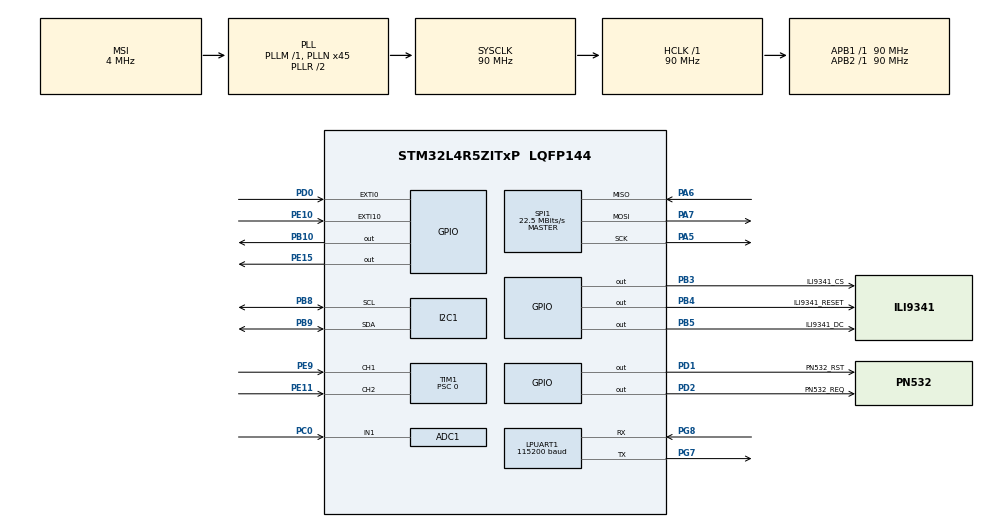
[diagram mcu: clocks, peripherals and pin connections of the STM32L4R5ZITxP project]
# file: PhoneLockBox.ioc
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ADC1.Channel-1\#ChannelRegularConversion=ADC_CHANNEL_1
ADC1.NbrOfConversionFlag=1
ADC1.OffsetNumber-1\#ChannelRegularConversion=ADC_OFFSET_NONE
ADC1.Rank-1\#ChannelRegularConversion=1
ADC1.SamplingTime-1\#ChannelRegularConversion=ADC_SAMPLETIME_2CYCLES_5
ADC1.master=1
I2C1.Timing=0xA021202D
LPUART1.BaudRate=115200
LPUART1.WordLength=UART_WORDLENGTH_8B
Mcu.Family=STM32L4
Mcu.Name=STM32L4R5ZITxP
Mcu.Package=LQFP144
NVIC.EXTI0_IRQn=true\:0\:0\:false\:false\:true\:true\:true\:true
NVIC.EXTI15_10_IRQn=true\:0\:0\:false\:false\:true\:true\:true\:true
NVIC.PriorityGroup=NVIC_PRIORITYGROUP_4
NVIC.TIM2_IRQn=true\:0\:0\:false\:false\:true\:true\:true\:true
NVIC.TIM3_IRQn=true\:0\:0\:false\:false\:true\:true\:true\:true
PA0.Signal=S_TIM2_CH1
PA1.Signal=ADCx_IN6
PA10.Signal=USB_OTG_FS_ID
PA13\ (JTMS/SWDIO).Signal=SYS_JTMS-SWDIO
PA14\ (JTCK/SWCLK).Signal=SYS_JTCK-SWCLK
PA3.Signal=ADCx_IN8
PA5.Mode=Full_Duplex_Master
PA5.Signal=SPI1_SCK
PA6.Mode=Full_Duplex_Master
PA6.Signal=SPI1_MISO
PA7.Mode=Full_Duplex_Master
PA7.Signal=SPI1_MOSI
PA8.Signal=USB_OTG_FS_SOF
PA9.Signal=USB_OTG_FS_VBUS
PB10.Signal=GPIO_Output
PB12.Signal=SAI2_FS_A
PB13.Signal=SAI2_SCK_A
PB14.Signal=S_TIM15_CH1
PB15.Signal=SAI2_SD_A
PB2.Signal=COMP1_INP
PB3\ (JTDO/TRACESWO).GPIO_Label=ILI9341_CS
PB3\ (JTDO/TRACESWO).Signal=GPIO_Output
PB4\ (NJTRST).GPIO_Label=ILI9341_RESET
PB4\ (NJTRST).Signal=GPIO_Output
PB5.GPIO_Label=ILI9341_DC
PB5.Signal=GPIO_Output
PB6.Signal=COMP2_INP
PB8.Mode=I2C
PB8.Signal=I2C1_SCL
PB9.Mode=I2C
PB9.Signal=I2C1_SDA
PC0.Signal=ADCx_IN1
PC1.Signal=ADCx_IN2
PC10.Signal=SDMMC1_D2
PC11.Signal=SDMMC1_D3
PC12.Signal=SDMMC1_CK
PC14-OSC32_IN\ (PC14).Signal=RCC_OSC32_IN
PC15-OSC32_OUT\ (PC15).Signal=RCC_OSC32_OUT
PC2.Signal=ADCx_IN3
PC3.Signal=ADCx_IN4
PC4.Signal=ADCx_IN13
PC5.Signal=ADCx_IN14
PC6.Signal=SAI2_MCLK_A
PC7.Signal=S_TIM3_CH2
PC8.Signal=SDMMC1_D0
PC9.Signal=SDMMC1_D1
PD0.Signal=GPXTI0
PD1.GPIO_Label=PN532_RST
PD1.Signal=GPIO_Output
PD14.Signal=S_TIM4_CH3
PD15.Signal=S_TIM4_CH4
PD2.GPIO_Label=PN532_REQ
PD2.Signal=GPIO_Output
PD3.Signal=USART2_CTS
PD4.Signal=USART2_RTS
PD5.Signal=USART2_TX
PD6.Signal=USART2_RX
PD8.Signal=USART3_TX
PD9.Signal=USART3_RX
PE0.Signal=S_TIM4_ETR
PE10.Signal=GPXTI10
PE11.Signal=S_TIM1_CH2
PE12.Signal=TIM1_CH3N
PE13.Signal=S_TIM1_CH3
PE14.Signal=TIM1_BKIN2
PE15.Signal=GPIO_Output
PE2.Signal=SAI1_MCLK_A
PE3.Signal=SAI1_SD_B
PE7.Signal=S_TIM1_ETR
PE8.Signal=TIM1_CH1N
PE9.Signal=S_TIM1_CH1
PF0.Signal=I2C2_SDA
PF1.Signal=I2C2_SCL
PF2.Signal=I2C2_SMBA
PF7.Signal=SAI1_MCLK_B
PG7.Mode=Asynchronous
PG7.Signal=LPUART1_TX
PG8.Mode=Asynchronous
PG8.Signal=LPUART1_RX
PH0-OSC_IN\ (PH0).Mode=HSE-External-Oscillator
PH0-OSC_IN\ (PH0).Signal=RCC_OSC_IN
PH1-OSC_OUT\ (PH1).Mode=HSE-External-Oscillator
PH1-OSC_OUT\ (PH1).Signal=RCC_OSC_OUT
ProjectManager.HeapSize=0x200
ProjectManager.StackSize=0x400
ProjectManager.TargetToolchain=STM32CubeIDE
RCC.ADCFreq_Value=32000000
RCC.AHBFreq_Value=90000000
RCC.APB1Freq_Value=90000000
RCC.APB1TimFreq_Value=90000000
RCC.APB2Freq_Value=90000000
RCC.APB2TimFreq_Value=90000000
RCC.CortexFreq_Value=90000000
RCC.HCLKFreq_Value=90000000
RCC.HSE_VALUE=8000000
RCC.HSI48_VALUE=48000000
RCC.HSI_VALUE=16000000
RCC.LSE_VALUE=32768
RCC.MSI_VALUE=4000000
RCC.PLLN=45
RCC.PLLSAI1N=16
RCC.SYSCLKFreq_VALUE=90000000
RCC.SYSCLKSource=RCC_SYSCLKSOURCE_PLLCLK
RCC.USBFreq_Value=32000000
RCC.VCOOutputFreq_Value=180000000
SH.ADCx_IN1.0=ADC1_IN1,IN1-Single-Ended
SH.ADCx_IN13.0=ADC1_IN13
SH.ADCx_IN14.0=ADC1_IN14
SH.ADCx_IN2.0=ADC1_IN2
SH.ADCx_IN3.0=ADC1_IN3
SH.ADCx_IN4.0=ADC1_IN4
SH.ADCx_IN6.0=ADC1_IN6
SH.ADCx_IN8.0=ADC1_IN8
SH.S_TIM15_CH1.0=TIM15_CH1
SH.S_TIM1_CH1.0=TIM1_CH1,Encoder_Interface
SH.S_TIM1_CH2.0=TIM1_CH2,Encoder_Interface
SH.S_TIM1_CH3.0=TIM1_CH3
SH.S_TIM1_ETR.0=TIM1_ETR
SH.S_TIM2_CH1.0=TIM2_CH1
SH.S_TIM3_CH2.0=TIM3_CH2
SH.S_TIM4_CH3.0=TIM4_CH3
SH.S_TIM4_CH4.0=TIM4_CH4
SH.S_TIM4_ETR.0=TIM4_ETR
SPI1.BaudRatePrescaler=SPI_BAUDRATEPRESCALER_4
SPI1.CalculateBaudRate=22.5 MBits/s
SPI1.DataSize=SPI_DATASIZE_8BIT
SPI1.Direction=SPI_DIRECTION_2LINES
SPI1.Mode=SPI_MODE_MASTER
SPI1.VirtualType=VM_MASTER
TIM1.EncoderMode=TIM_ENCODERMODE_TI12
TIM1.Period=60000
TIM1.Prescaler=0
TIM2.CounterMode=TIM_COUNTERMODE_DOWN
TIM2.Period=30000
TIM2.Prescaler=8999
TIM3.AutoReloadPreload=TIM_AUTORELOAD_PRELOAD_ENABLE
TIM3.Period=100
TIM3.Prescaler=899
VP_TIM2_VS_ClockSourceINT.Mode=Internal
VP_TIM3_VS_ClockSourceINT.Mode=Internal
board=NUCLEO-L4R5ZI-P

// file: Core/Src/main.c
/* USER CODE BEGIN Header */
/**
 ******************************************************************************
 * @file           : main.c
 * @brief          : Main program body
 ******************************************************************************
 * @attention
 *
 * Copyright (c) 2025 STMicroelectronics.
 * All rights reserved.
 *
 * This software is licensed under terms that can be found in the LICENSE file
 * in the root directory of this software component.
 * If no LICENSE file comes with this software, it is provided AS-IS.
 *
 ******************************************************************************
 */
/* USER CODE END Header */
#include "main.h"

/* USER CODE BEGIN Includes */
#include <stdio.h>
#include <string.h>
#include <stdio.h>

#include "audio.h"
#include "Screen_Driver.h"
#include "state_machine.h"
#include "nfc.h"
#include "accelerometer.h"
#include "rotary_encoder.h"
#include "shared.h"
#include "lock_timer.h"
#include "font.h"
#include "event_controller.h"
/* USER CODE END Includes */

ADC_HandleTypeDef hadc1;

I2C_HandleTypeDef hi2c1;

UART_HandleTypeDef hlpuart1;

SPI_HandleTypeDef hspi1;

TIM_HandleTypeDef htim1;
TIM_HandleTypeDef htim2;
TIM_HandleTypeDef htim3;

/* USER CODE BEGIN PV */
PN532 pn532;

extern BoxState state;
extern uint32_t time_ms;
extern uint8_t audio_count;
extern SFlag flags[MAX_FLAGS];
extern bool master_timer_done;
/* USER CODE END PV */

void SystemClock_Config(void);
static void MX_GPIO_Init(void);
static void MX_LPUART1_UART_Init(void);
static void MX_ADC1_Init(void);
static void MX_TIM1_Init(void);
static void MX_I2C1_Init(void);
static void MX_SPI1_Init(void);
static void MX_TIM3_Init(void);
static void MX_TIM2_Init(void);

/* USER CODE BEGIN 0 */
void HAL_GPIO_EXTI_Callback(uint16_t GPIO_Pin){
	if (GPIO_Pin == GPIO_PIN_0) {  // Replace with your actual D0-connected pin
		if (state == LOCKED_MONITOR_AWAKE || state == LOCKED_MONITOR_ASLEEP) {
			++audio_count;
		}else if(state == LOCKED_FULL_AWAKE || state == LOCKED_FULL_ASLEEP) {
			stateInsertFlag(SFLAG_AUDIO_VOL_HIGH);
		}
#ifdef DEBUG_AUDIO
		printf("[INFO] EXTI 0 Interrupt Triggered from KY-037 D0!\n\r");
#endif /* DEBUG_AUDIO */
	} else if (GPIO_Pin == GPIO_PIN_10) {
		stateInsertFlag(SFLAG_ROTENC_INTERRUPT);
#ifdef DEBUG_ROTARY_ENCODER
		printf("[INFO] EXTI 10 Interrupt Triggered from Rotenc SW\n\r");
#endif

	}
}

// Callback: timer has rolled over
void HAL_TIM_PeriodElapsedCallback(TIM_HandleTypeDef *htim) {
	if (htim == &htim3 ) {
		++time_ms;
	} else if (htim == &htim2) {
		master_timer_done = true;
	}
}
/* USER CODE END 0 */

int main(void)
{

  /* MCU Configuration--------------------------------------------------------*/

  /* Reset of all peripherals, Initializes the Flash interface and the Systick. */
  HAL_Init();

  /* Configure the system clock */
  SystemClock_Config();

  /* Initialize all configured peripherals */
  MX_GPIO_Init();
  MX_LPUART1_UART_Init();
  MX_ADC1_Init();
  MX_TIM1_Init();
  MX_I2C1_Init();
  MX_SPI1_Init();
  MX_TIM3_Init();
  MX_TIM2_Init();
  /* USER CODE BEGIN 2 */

  	  /*
  	   * All of the initationals for our system and first pass
  	   * calls to establish state
  	   * */
	ILI9341_Init();
	ILI9341_Fill_Screen(WHITE);
	PN532_I2C_Init(&pn532);
	accInit();
	audioInit();
	magInit();
	rotencInit();
	nfcInit();

	lockTimerInit();
	stateMachineInit();
	eventControllerInit();

	screenResolve();
	stateScheduleEvents();
	inturruptControl();

  /* USER CODE END 2 */

  /* Infinite loop */
  /* USER CODE BEGIN WHILE */

	while (1)
	{
		runStateMachine();
		eventRunner();

		/*
		 * The code below handles rotary encoder pass through into
		 * the master timer
		 */
		if(state == UNLOCKED_EMPTY_AWAKE) {
			int32_t delta = rotencGetDelta();

			if (delta) { //Check mag^2 of delta
				lockTimerSetTime(lockTimerGetTime() + (delta * 30000));
				UEA_Timer_Update();

			}
		}

		/*
		 * This drives screen updates as the timer decrements
		 */
		if(state == LOCKED_FULL_AWAKE || state == LOCKED_MONITOR_AWAKE){
			if (lockTimerGetTime() % 1500 == 0) {
				Ring_Update();
			}
			if (lockTimerGetTime() % 150 == 0){
				UEA_Timer_Update();
			}

		}

    /* USER CODE END WHILE */

	}
}

void SystemClock_Config(void)
{
  RCC_OscInitTypeDef RCC_OscInitStruct = {0};
  RCC_ClkInitTypeDef RCC_ClkInitStruct = {0};

  /** Configure the main internal regulator output voltage
  */
  if (HAL_PWREx_ControlVoltageScaling(PWR_REGULATOR_VOLTAGE_SCALE1_BOOST) != HAL_OK)
  {
    Error_Handler();
  }

  /** Initializes the RCC Oscillators according to the specified parameters
  * in the RCC_OscInitTypeDef structure.
  */
  RCC_OscInitStruct.OscillatorType = RCC_OSCILLATORTYPE_MSI;
  RCC_OscInitStruct.MSIState = RCC_MSI_ON;
  RCC_OscInitStruct.MSICalibrationValue = 0;
  RCC_OscInitStruct.MSIClockRange = RCC_MSIRANGE_6;
  RCC_OscInitStruct.PLL.PLLState = RCC_PLL_ON;
  RCC_OscInitStruct.PLL.PLLSource = RCC_PLLSOURCE_MSI;
  RCC_OscInitStruct.PLL.PLLM = 1;
  RCC_OscInitStruct.PLL.PLLN = 45;
  RCC_OscInitStruct.PLL.PLLP = RCC_PLLP_DIV2;
  RCC_OscInitStruct.PLL.PLLQ = RCC_PLLQ_DIV2;
  RCC_OscInitStruct.PLL.PLLR = RCC_PLLR_DIV2;
  if (HAL_RCC_OscConfig(&RCC_OscInitStruct) != HAL_OK)
  {
    Error_Handler();
  }

  /** Initializes the CPU, AHB and APB buses clocks
  */
  RCC_ClkInitStruct.ClockType = RCC_CLOCKTYPE_HCLK|RCC_CLOCKTYPE_SYSCLK
                              |RCC_CLOCKTYPE_PCLK1|RCC_CLOCKTYPE_PCLK2;
  RCC_ClkInitStruct.SYSCLKSource = RCC_SYSCLKSOURCE_PLLCLK;
  RCC_ClkInitStruct.AHBCLKDivider = RCC_SYSCLK_DIV1;
  RCC_ClkInitStruct.APB1CLKDivider = RCC_HCLK_DIV1;
  RCC_ClkInitStruct.APB2CLKDivider = RCC_HCLK_DIV1;

  if (HAL_RCC_ClockConfig(&RCC_ClkInitStruct, FLASH_LATENCY_4) != HAL_OK)
  {
    Error_Handler();
  }
}

static void MX_ADC1_Init(void)
{

  ADC_ChannelConfTypeDef sConfig = {0};

  /** Common config
  */
  hadc1.Instance = ADC1;
  hadc1.Init.ClockPrescaler = ADC_CLOCK_ASYNC_DIV1;
  hadc1.Init.Resolution = ADC_RESOLUTION_12B;
  hadc1.Init.DataAlign = ADC_DATAALIGN_RIGHT;
  hadc1.Init.ScanConvMode = ADC_SCAN_DISABLE;
  hadc1.Init.EOCSelection = ADC_EOC_SINGLE_CONV;
  hadc1.Init.LowPowerAutoWait = DISABLE;
  hadc1.Init.ContinuousConvMode = DISABLE;
  hadc1.Init.NbrOfConversion = 1;
  hadc1.Init.DiscontinuousConvMode = DISABLE;
  hadc1.Init.ExternalTrigConv = ADC_SOFTWARE_START;
  hadc1.Init.ExternalTrigConvEdge = ADC_EXTERNALTRIGCONVEDGE_NONE;
  hadc1.Init.DMAContinuousRequests = DISABLE;
  hadc1.Init.Overrun = ADC_OVR_DATA_PRESERVED;
  hadc1.Init.OversamplingMode = DISABLE;
  if (HAL_ADC_Init(&hadc1) != HAL_OK)
  {
    Error_Handler();
  }

  /** Configure Regular Channel
  */
  sConfig.Channel = ADC_CHANNEL_1;
  sConfig.Rank = ADC_REGULAR_RANK_1;
  sConfig.SamplingTime = ADC_SAMPLETIME_2CYCLES_5;
  sConfig.SingleDiff = ADC_SINGLE_ENDED;
  sConfig.OffsetNumber = ADC_OFFSET_NONE;
  sConfig.Offset = 0;
  if (HAL_ADC_ConfigChannel(&hadc1, &sConfig) != HAL_OK)
  {
    Error_Handler();
  }

}

static void MX_I2C1_Init(void)
{

  hi2c1.Instance = I2C1;
  hi2c1.Init.Timing = 0xA021202D;
  hi2c1.Init.OwnAddress1 = 0;
  hi2c1.Init.AddressingMode = I2C_ADDRESSINGMODE_7BIT;
  hi2c1.Init.DualAddressMode = I2C_DUALADDRESS_DISABLE;
  hi2c1.Init.OwnAddress2 = 0;
  hi2c1.Init.OwnAddress2Masks = I2C_OA2_NOMASK;
  hi2c1.Init.GeneralCallMode = I2C_GENERALCALL_DISABLE;
  hi2c1.Init.NoStretchMode = I2C_NOSTRETCH_DISABLE;
  if (HAL_I2C_Init(&hi2c1) != HAL_OK)
  {
    Error_Handler();
  }

  /** Configure Analogue filter
  */
  if (HAL_I2CEx_ConfigAnalogFilter(&hi2c1, I2C_ANALOGFILTER_ENABLE) != HAL_OK)
  {
    Error_Handler();
  }

  /** Configure Digital filter
  */
  if (HAL_I2CEx_ConfigDigitalFilter(&hi2c1, 0) != HAL_OK)
  {
    Error_Handler();
  }

}

static void MX_LPUART1_UART_Init(void)
{

  hlpuart1.Instance = LPUART1;
  hlpuart1.Init.BaudRate = 115200;
  hlpuart1.Init.WordLength = UART_WORDLENGTH_8B;
  hlpuart1.Init.StopBits = UART_STOPBITS_1;
  hlpuart1.Init.Parity = UART_PARITY_NONE;
  hlpuart1.Init.Mode = UART_MODE_TX_RX;
  hlpuart1.Init.HwFlowCtl = UART_HWCONTROL_NONE;
  hlpuart1.Init.OneBitSampling = UART_ONE_BIT_SAMPLE_DISABLE;
  hlpuart1.Init.ClockPrescaler = UART_PRESCALER_DIV1;
  hlpuart1.AdvancedInit.AdvFeatureInit = UART_ADVFEATURE_NO_INIT;
  hlpuart1.FifoMode = UART_FIFOMODE_DISABLE;
  if (HAL_UART_Init(&hlpuart1) != HAL_OK)
  {
    Error_Handler();
  }
  if (HAL_UARTEx_SetTxFifoThreshold(&hlpuart1, UART_TXFIFO_THRESHOLD_1_8) != HAL_OK)
  {
    Error_Handler();
  }
  if (HAL_UARTEx_SetRxFifoThreshold(&hlpuart1, UART_RXFIFO_THRESHOLD_1_8) != HAL_OK)
  {
    Error_Handler();
  }
  if (HAL_UARTEx_DisableFifoMode(&hlpuart1) != HAL_OK)
  {
    Error_Handler();
  }

}

static void MX_SPI1_Init(void)
{

  /* SPI1 parameter configuration*/
  hspi1.Instance = SPI1;
  hspi1.Init.Mode = SPI_MODE_MASTER;
  hspi1.Init.Direction = SPI_DIRECTION_2LINES;
  hspi1.Init.DataSize = SPI_DATASIZE_8BIT;
  hspi1.Init.CLKPolarity = SPI_POLARITY_LOW;
  hspi1.Init.CLKPhase = SPI_PHASE_1EDGE;
  hspi1.Init.NSS = SPI_NSS_SOFT;
  hspi1.Init.BaudRatePrescaler = SPI_BAUDRATEPRESCALER_4;
  hspi1.Init.FirstBit = SPI_FIRSTBIT_MSB;
  hspi1.Init.TIMode = SPI_TIMODE_DISABLE;
  hspi1.Init.CRCCalculation = SPI_CRCCALCULATION_DISABLE;
  hspi1.Init.CRCPolynomial = 7;
  hspi1.Init.CRCLength = SPI_CRC_LENGTH_DATASIZE;
  hspi1.Init.NSSPMode = SPI_NSS_PULSE_ENABLE;
  if (HAL_SPI_Init(&hspi1) != HAL_OK)
  {
    Error_Handler();
  }

}

static void MX_TIM1_Init(void)
{

  TIM_Encoder_InitTypeDef sConfig = {0};
  TIM_MasterConfigTypeDef sMasterConfig = {0};

  htim1.Instance = TIM1;
  htim1.Init.Prescaler = 0;
  htim1.Init.CounterMode = TIM_COUNTERMODE_UP;
  htim1.Init.Period = 60000;
  htim1.Init.ClockDivision = TIM_CLOCKDIVISION_DIV1;
  htim1.Init.RepetitionCounter = 0;
  htim1.Init.AutoReloadPreload = TIM_AUTORELOAD_PRELOAD_DISABLE;
  sConfig.EncoderMode = TIM_ENCODERMODE_TI12;
  sConfig.IC1Polarity = TIM_ICPOLARITY_RISING;
  sConfig.IC1Selection = TIM_ICSELECTION_DIRECTTI;
  sConfig.IC1Prescaler = TIM_ICPSC_DIV1;
  sConfig.IC1Filter = 0;
  sConfig.IC2Polarity = TIM_ICPOLARITY_RISING;
  sConfig.IC2Selection = TIM_ICSELECTION_DIRECTTI;
  sConfig.IC2Prescaler = TIM_ICPSC_DIV1;
  sConfig.IC2Filter = 0;
  if (HAL_TIM_Encoder_Init(&htim1, &sConfig) != HAL_OK)
  {
    Error_Handler();
  }
  sMasterConfig.MasterOutputTrigger = TIM_TRGO_RESET;
  sMasterConfig.MasterOutputTrigger2 = TIM_TRGO2_RESET;
  sMasterConfig.MasterSlaveMode = TIM_MASTERSLAVEMODE_DISABLE;
  if (HAL_TIMEx_MasterConfigSynchronization(&htim1, &sMasterConfig) != HAL_OK)
  {
    Error_Handler();
  }

}

static void MX_TIM2_Init(void)
{

  TIM_ClockConfigTypeDef sClockSourceConfig = {0};
  TIM_MasterConfigTypeDef sMasterConfig = {0};

  htim2.Instance = TIM2;
  htim2.Init.Prescaler = 8999;
  htim2.Init.CounterMode = TIM_COUNTERMODE_DOWN;
  htim2.Init.Period = 30000;
  htim2.Init.ClockDivision = TIM_CLOCKDIVISION_DIV1;
  htim2.Init.AutoReloadPreload = TIM_AUTORELOAD_PRELOAD_DISABLE;
  if (HAL_TIM_Base_Init(&htim2) != HAL_OK)
  {
    Error_Handler();
  }
  sClockSourceConfig.ClockSource = TIM_CLOCKSOURCE_INTERNAL;
  if (HAL_TIM_ConfigClockSource(&htim2, &sClockSourceConfig) != HAL_OK)
  {
    Error_Handler();
  }
  sMasterConfig.MasterOutputTrigger = TIM_TRGO_RESET;
  sMasterConfig.MasterSlaveMode = TIM_MASTERSLAVEMODE_DISABLE;
  if (HAL_TIMEx_MasterConfigSynchronization(&htim2, &sMasterConfig) != HAL_OK)
  {
    Error_Handler();
  }

}

static void MX_TIM3_Init(void)
{

  TIM_ClockConfigTypeDef sClockSourceConfig = {0};
  TIM_MasterConfigTypeDef sMasterConfig = {0};

  htim3.Instance = TIM3;
  htim3.Init.Prescaler = 899;
  htim3.Init.CounterMode = TIM_COUNTERMODE_UP;
  htim3.Init.Period = 100;
  htim3.Init.ClockDivision = TIM_CLOCKDIVISION_DIV1;
  htim3.Init.AutoReloadPreload = TIM_AUTORELOAD_PRELOAD_ENABLE;
  if (HAL_TIM_Base_Init(&htim3) != HAL_OK)
  {
    Error_Handler();
  }
  sClockSourceConfig.ClockSource = TIM_CLOCKSOURCE_INTERNAL;
  if (HAL_TIM_ConfigClockSource(&htim3, &sClockSourceConfig) != HAL_OK)
  {
    Error_Handler();
  }
  sMasterConfig.MasterOutputTrigger = TIM_TRGO_RESET;
  sMasterConfig.MasterSlaveMode = TIM_MASTERSLAVEMODE_DISABLE;
  if (HAL_TIMEx_MasterConfigSynchronization(&htim3, &sMasterConfig) != HAL_OK)
  {
    Error_Handler();
  }

}

static void MX_GPIO_Init(void)
{
  GPIO_InitTypeDef GPIO_InitStruct = {0};

  /* GPIO Ports Clock Enable */
  __HAL_RCC_GPIOE_CLK_ENABLE();
  __HAL_RCC_GPIOC_CLK_ENABLE();
  __HAL_RCC_GPIOF_CLK_ENABLE();
  __HAL_RCC_GPIOH_CLK_ENABLE();
  __HAL_RCC_GPIOA_CLK_ENABLE();
  __HAL_RCC_GPIOB_CLK_ENABLE();
  __HAL_RCC_GPIOD_CLK_ENABLE();
  __HAL_RCC_GPIOG_CLK_ENABLE();
  HAL_PWREx_EnableVddIO2();

  /*Configure GPIO pin Output Level */
  HAL_GPIO_WritePin(GPIOE, GPIO_PIN_15, GPIO_PIN_RESET);

  /*Configure GPIO pin Output Level */
  HAL_GPIO_WritePin(GPIOB, GPIO_PIN_10|ILI9341_CS_Pin|ILI9341_RESET_Pin|ILI9341_DC_Pin, GPIO_PIN_RESET);

  /*Configure GPIO pin Output Level */
  HAL_GPIO_WritePin(GPIOD, PN532_RST_Pin|PN532_REQ_Pin, GPIO_PIN_RESET);

  /*Configure GPIO pins : PE2 PE3 */
  GPIO_InitStruct.Pin = GPIO_PIN_2|GPIO_PIN_3;
  GPIO_InitStruct.Mode = GPIO_MODE_AF_PP;
  GPIO_InitStruct.Pull = GPIO_NOPULL;
  GPIO_InitStruct.Speed = GPIO_SPEED_FREQ_LOW;
  GPIO_InitStruct.Alternate = GPIO_AF13_SAI1;
  HAL_GPIO_Init(GPIOE, &GPIO_InitStruct);

  /*Configure GPIO pins : PF0 PF1 PF2 */
  GPIO_InitStruct.Pin = GPIO_PIN_0|GPIO_PIN_1|GPIO_PIN_2;
  GPIO_InitStruct.Mode = GPIO_MODE_AF_OD;
  GPIO_InitStruct.Pull = GPIO_NOPULL;
  GPIO_InitStruct.Speed = GPIO_SPEED_FREQ_VERY_HIGH;
  GPIO_InitStruct.Alternate = GPIO_AF4_I2C2;
  HAL_GPIO_Init(GPIOF, &GPIO_InitStruct);

  /*Configure GPIO pin : PF7 */
  GPIO_InitStruct.Pin = GPIO_PIN_7;
  GPIO_InitStruct.Mode = GPIO_MODE_AF_PP;
  GPIO_InitStruct.Pull = GPIO_NOPULL;
  GPIO_InitStruct.Speed = GPIO_SPEED_FREQ_LOW;
  GPIO_InitStruct.Alternate = GPIO_AF13_SAI1;
  HAL_GPIO_Init(GPIOF, &GPIO_InitStruct);

  /*Configure GPIO pins : PB2 PB6 */
  GPIO_InitStruct.Pin = GPIO_PIN_2|GPIO_PIN_6;
  GPIO_InitStruct.Mode = GPIO_MODE_ANALOG;
  GPIO_InitStruct.Pull = GPIO_NOPULL;
  HAL_GPIO_Init(GPIOB, &GPIO_InitStruct);

  /*Configure GPIO pin : PE10 */
  GPIO_InitStruct.Pin = GPIO_PIN_10;
  GPIO_InitStruct.Mode = GPIO_MODE_IT_RISING;
  GPIO_InitStruct.Pull = GPIO_NOPULL;
  HAL_GPIO_Init(GPIOE, &GPIO_InitStruct);

  /*Configure GPIO pin : PE15 */
  GPIO_InitStruct.Pin = GPIO_PIN_15;
  GPIO_InitStruct.Mode = GPIO_MODE_OUTPUT_PP;
  GPIO_InitStruct.Pull = GPIO_NOPULL;
  GPIO_InitStruct.Speed = GPIO_SPEED_FREQ_LOW;
  HAL_GPIO_Init(GPIOE, &GPIO_InitStruct);

  /*Configure GPIO pins : PB10 ILI9341_CS_Pin ILI9341_RESET_Pin ILI9341_DC_Pin */
  GPIO_InitStruct.Pin = GPIO_PIN_10|ILI9341_CS_Pin|ILI9341_RESET_Pin|ILI9341_DC_Pin;
  GPIO_InitStruct.Mode = GPIO_MODE_OUTPUT_PP;
  GPIO_InitStruct.Pull = GPIO_NOPULL;
  GPIO_InitStruct.Speed = GPIO_SPEED_FREQ_LOW;
  HAL_GPIO_Init(GPIOB, &GPIO_InitStruct);

  /*Configure GPIO pins : PB12 PB13 PB15 */
  GPIO_InitStruct.Pin = GPIO_PIN_12|GPIO_PIN_13|GPIO_PIN_15;
  GPIO_InitStruct.Mode = GPIO_MODE_AF_PP;
  GPIO_InitStruct.Pull = GPIO_NOPULL;
  GPIO_InitStruct.Speed = GPIO_SPEED_FREQ_LOW;
  GPIO_InitStruct.Alternate = GPIO_AF13_SAI2;
  HAL_GPIO_Init(GPIOB, &GPIO_InitStruct);

  /*Configure GPIO pin : PB14 */
  GPIO_InitStruct.Pin = GPIO_PIN_14;
  GPIO_InitStruct.Mode = GPIO_MODE_AF_PP;
  GPIO_InitStruct.Pull = GPIO_NOPULL;
  GPIO_InitStruct.Speed = GPIO_SPEED_FREQ_LOW;
  GPIO_InitStruct.Alternate = GPIO_AF14_TIM15;
  HAL_GPIO_Init(GPIOB, &GPIO_InitStruct);

  /*Configure GPIO pins : PD8 PD9 */
  GPIO_InitStruct.Pin = GPIO_PIN_8|GPIO_PIN_9;
  GPIO_InitStruct.Mode = GPIO_MODE_AF_PP;
  GPIO_InitStruct.Pull = GPIO_NOPULL;
  GPIO_InitStruct.Speed = GPIO_SPEED_FREQ_VERY_HIGH;
  GPIO_InitStruct.Alternate = GPIO_AF7_USART3;
  HAL_GPIO_Init(GPIOD, &GPIO_InitStruct);

  /*Configure GPIO pins : PD14 PD15 */
  GPIO_InitStruct.Pin = GPIO_PIN_14|GPIO_PIN_15;
  GPIO_InitStruct.Mode = GPIO_MODE_AF_PP;
  GPIO_InitStruct.Pull = GPIO_NOPULL;
  GPIO_InitStruct.Speed = GPIO_SPEED_FREQ_LOW;
  GPIO_InitStruct.Alternate = GPIO_AF2_TIM4;
  HAL_GPIO_Init(GPIOD, &GPIO_InitStruct);

  /*Configure GPIO pin : PC6 */
  GPIO_InitStruct.Pin = GPIO_PIN_6;
  GPIO_InitStruct.Mode = GPIO_MODE_AF_PP;
  GPIO_InitStruct.Pull = GPIO_NOPULL;
  GPIO_InitStruct.Speed = GPIO_SPEED_FREQ_LOW;
  GPIO_InitStruct.Alternate = GPIO_AF13_SAI2;
  HAL_GPIO_Init(GPIOC, &GPIO_InitStruct);

  /*Configure GPIO pins : PC8 PC9 PC10 PC11
                           PC12 */
  GPIO_InitStruct.Pin = GPIO_PIN_8|GPIO_PIN_9|GPIO_PIN_10|GPIO_PIN_11
                          |GPIO_PIN_12;
  GPIO_InitStruct.Mode = GPIO_MODE_AF_PP;
  GPIO_InitStruct.Pull = GPIO_NOPULL;
  GPIO_InitStruct.Speed = GPIO_SPEED_FREQ_VERY_HIGH;
  GPIO_InitStruct.Alternate = GPIO_AF12_SDMMC1;
  HAL_GPIO_Init(GPIOC, &GPIO_InitStruct);

  /*Configure GPIO pins : PA8 PA10 */
  GPIO_InitStruct.Pin = GPIO_PIN_8|GPIO_PIN_10;
  GPIO_InitStruct.Mode = GPIO_MODE_AF_PP;
  GPIO_InitStruct.Pull = GPIO_NOPULL;
  GPIO_InitStruct.Speed = GPIO_SPEED_FREQ_VERY_HIGH;
  GPIO_InitStruct.Alternate = GPIO_AF10_OTG_FS;
  HAL_GPIO_Init(GPIOA, &GPIO_InitStruct);

  /*Configure GPIO pin : PA9 */
  GPIO_InitStruct.Pin = GPIO_PIN_9;
  GPIO_InitStruct.Mode = GPIO_MODE_INPUT;
  GPIO_InitStruct.Pull = GPIO_NOPULL;
  HAL_GPIO_Init(GPIOA, &GPIO_InitStruct);

  /*Configure GPIO pin : PD0 */
  GPIO_InitStruct.Pin = GPIO_PIN_0;
  GPIO_InitStruct.Mode = GPIO_MODE_IT_RISING;
  GPIO_InitStruct.Pull = GPIO_NOPULL;
  HAL_GPIO_Init(GPIOD, &GPIO_InitStruct);

  /*Configure GPIO pins : PN532_RST_Pin PN532_REQ_Pin */
  GPIO_InitStruct.Pin = PN532_RST_Pin|PN532_REQ_Pin;
  GPIO_InitStruct.Mode = GPIO_MODE_OUTPUT_PP;
  GPIO_InitStruct.Pull = GPIO_NOPULL;
  GPIO_InitStruct.Speed = GPIO_SPEED_FREQ_LOW;
  HAL_GPIO_Init(GPIOD, &GPIO_InitStruct);

  /*Configure GPIO pins : PD3 PD4 PD5 PD6 */
  GPIO_InitStruct.Pin = GPIO_PIN_3|GPIO_PIN_4|GPIO_PIN_5|GPIO_PIN_6;
  GPIO_InitStruct.Mode = GPIO_MODE_AF_PP;
  GPIO_InitStruct.Pull = GPIO_NOPULL;
  GPIO_InitStruct.Speed = GPIO_SPEED_FREQ_VERY_HIGH;
  GPIO_InitStruct.Alternate = GPIO_AF7_USART2;
  HAL_GPIO_Init(GPIOD, &GPIO_InitStruct);

  /*Configure GPIO pin : PE0 */
  GPIO_InitStruct.Pin = GPIO_PIN_0;
  GPIO_InitStruct.Mode = GPIO_MODE_AF_PP;
  GPIO_InitStruct.Pull = GPIO_NOPULL;
  GPIO_InitStruct.Speed = GPIO_SPEED_FREQ_LOW;
  GPIO_InitStruct.Alternate = GPIO_AF2_TIM4;
  HAL_GPIO_Init(GPIOE, &GPIO_InitStruct);

  /* EXTI interrupt init*/
  HAL_NVIC_SetPriority(EXTI0_IRQn, 0, 0);
  HAL_NVIC_EnableIRQ(EXTI0_IRQn);

  HAL_NVIC_SetPriority(EXTI15_10_IRQn, 0, 0);
  HAL_NVIC_EnableIRQ(EXTI15_10_IRQn);

}

/* USER CODE BEGIN 4 */
#ifdef DEBUG_OUT
#ifdef __GNUC__
#define PUTCHAR_PROTOTYPE int __io_putchar(int ch)
#else
#define PUTCHAR_PROTOTYPE int fputc(int ch, FILE *f)
#endif /* __GNUC__ */
PUTCHAR_PROTOTYPE
{
	HAL_UART_Transmit(&hlpuart1, (uint8_t *)&ch, 1, 0xFFFF);
	return ch;
}
#endif /* DEBUG_OUT */

/* USER CODE END 4 */

void Error_Handler(void)
{
	__disable_irq();
	while (1)
	{
	}
}
